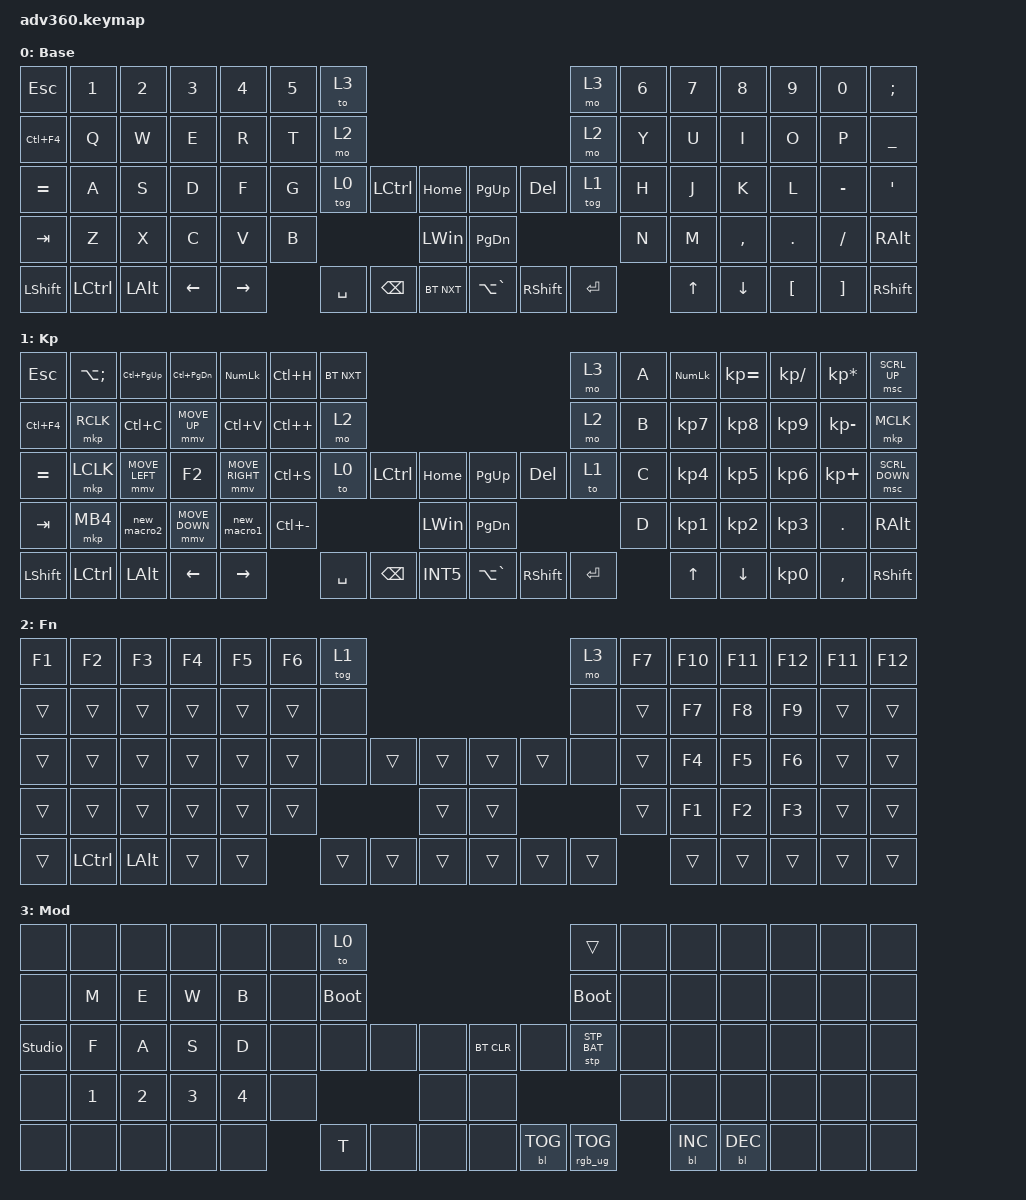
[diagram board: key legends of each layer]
#include <dt-bindings/zmk/stp.h>
#include <behaviors.dtsi>
#include <dt-bindings/zmk/backlight.h>
#include <dt-bindings/zmk/bt.h>
#include <dt-bindings/zmk/keys.h>
#include <dt-bindings/zmk/pointing.h>
#include <dt-bindings/zmk/rgb.h>

/ {
    behaviors {
        #include "macros.dtsi"
      #include "version.dtsi"

        hm: homerow_mods {
            compatible = "zmk,behavior-hold-tap";
            label = "HOMEROW_MODS";
            #binding-cells = <2>;
            tapping-term-ms = <200>;
            quick_tap_ms = <175>;
            flavor = "tap-preferred";
            bindings = <&kp>, <&kp>;
        };
    };

    macros {
        new_macro1: new_macro1 {
            compatible = "zmk,behavior-macro";
            #binding-cells = <0>;
            bindings = <&kp LEFT_ALT &kp H &kp V &kp V>;
            label = "NEW_MACRO1";
        };

        new_macro2: new_macro2 {
            compatible = "zmk,behavior-macro";
            #binding-cells = <0>;
            bindings = <&kp LEFT_ALT &kp H &kp V &kp R>;
            label = "NEW_MACRO2";
        };
    };

    keymap {
        compatible = "zmk,keymap";

        default_layer {
            display-name = "Base";
            bindings = <
&kp ESCAPE  &kp N1            &kp N2        &kp N3    &kp N4     &kp N5  &to 3                                                                       &mo 3      &kp N6  &kp N7  &kp N8     &kp N9    &kp N0     &kp SEMICOLON
&kp LC(F4)  &kp Q             &kp W         &kp E     &kp R      &kp T   &mo 2                                                                       &mo 2      &kp Y   &kp U   &kp I      &kp O     &kp P      &kp UNDERSCORE
&kp EQUAL   &kp A             &kp S         &kp D     &kp F      &kp G   &tog 0     &kp LCTRL      &kp HOME          &kp PAGE_UP    &kp DEL          &tog 1     &kp H   &kp J   &kp K      &kp L     &kp MINUS  &kp SQT
&kp TAB     &kp Z             &kp X         &kp C     &kp V      &kp B                             &kp LEFT_WIN      &kp PAGE_DOWN                              &kp N   &kp M   &kp COMMA  &kp DOT   &kp FSLH   &kp RIGHT_ALT
&kp LSHIFT  &kp LEFT_CONTROL  &kp LEFT_ALT  &kp LEFT  &kp RIGHT          &kp SPACE  &kp BACKSPACE  &bt BT_NXT        &kp LA(GRAVE)  &kp RIGHT_SHIFT  &kp ENTER          &kp UP  &kp DOWN   &kp LBKT  &kp RBKT   &kp RIGHT_SHIFT
            >;
        };

        keypad {
            display-name = "Kp";
            bindings = <
&kp ESC         &kp LA(SEMI)      &kp LC(PAGE_UP)  &kp LC(PAGE_DOWN)  &kp KP_NUMLOCK   &kp LC(H)      &bt BT_NXT                                                                   &mo 3      &kp A  &kp KP_NUM  &kp KP_EQUAL  &kp KP_DIVIDE    &kp KP_MULTIPLY  &msc SCRL_UP
&kp LC(F4)      &mkp RCLK         &kp LC(C)        &mmv MOVE_UP       &kp LC(V)        &kp LC(PLUS)   &mo 2                                                                        &mo 2      &kp B  &kp KP_N7   &kp KP_N8     &kp KP_N9        &kp KP_MINUS     &mkp MCLK
&kp EQUAL       &mkp LCLK         &mmv MOVE_LEFT   &kp F2             &mmv MOVE_RIGHT  &kp LC(S)      &to 0       &kp LCTRL      &kp HOME          &kp PAGE_UP    &kp DEL          &to 1      &kp C  &kp KP_N4   &kp KP_N5     &kp KP_N6        &kp KP_PLUS      &msc SCRL_DOWN
&kp TAB         &mkp MB4          &new_macro2      &mmv MOVE_DOWN     &new_macro1      &kp LC(MINUS)                             &kp LEFT_WIN      &kp PAGE_DOWN                              &kp D  &kp KP_N1   &kp KP_N2     &kp KP_N3        &kp PERIOD       &kp RIGHT_ALT
&kp LEFT_SHIFT  &kp LEFT_CONTROL  &kp LEFT_ALT     &kp LEFT           &kp RIGHT                       &kp SPACE   &kp BACKSPACE  &kp INT5          &kp LA(GRAVE)  &kp RIGHT_SHIFT  &kp ENTER         &kp UP      &kp DOWN      &kp KP_NUMBER_0  &kp COMMA        &kp RIGHT_SHIFT
            >;
        };

        fn {
            display-name = "Fn";
            bindings = <
&kp F1  &kp F2     &kp F3        &kp F4  &kp F5  &kp F6  &tog 1                                      &mo 3   &kp F7  &kp F10  &kp F11  &kp F12  &kp F11  &kp F12
&trans  &trans     &trans        &trans  &trans  &trans  &none                                       &none   &trans  &kp F7   &kp F8   &kp F9   &trans   &trans
&trans  &trans     &trans        &trans  &trans  &trans  &none   &trans  &trans      &trans  &trans  &none   &trans  &kp F4   &kp F5   &kp F6   &trans   &trans
&trans  &trans     &trans        &trans  &trans  &trans                  &trans      &trans                  &trans  &kp F1   &kp F2   &kp F3   &trans   &trans
&trans  &kp LCTRL  &kp LEFT_ALT  &trans  &trans          &trans  &trans  &trans      &trans  &trans  &trans          &trans   &trans   &trans   &trans   &trans
            >;
        };

        mod {
            display-name = "Mod";
            bindings = <
&none           &none         &none   &none   &none   &none  &to 0                                                  &trans           &none  &none       &none       &none  &none  &none
&none           &kp M         &kp E   &kp W   &kp B   &none  &bootloader                                            &bootloader      &none  &none       &none       &none  &none  &none
&studio_unlock  &kp F         &kp A   &kp S   &kp D   &none  &none        &none  &none      &bt BT_CLR  &none       &stp STP_BAT     &none  &none       &none       &none  &none  &none
&none           &kp NUMBER_1  &kp N2  &kp N3  &kp N4  &none                      &none      &none                                    &none  &none       &none       &none  &none  &none
&none           &none         &none   &none   &none          &kp T        &none  &none      &none       &bl BL_TOG  &rgb_ug RGB_TOG         &bl BL_INC  &bl BL_DEC  &none  &none  &none
            >;
        };

        extra1 {
            display-name = "Red";
            status = "reserved";
        };

        extra2 {
            display-name = "Purple";
            status = "reserved";
        };

        extra3 {
            display-name = "Cyan";
            status = "reserved";
        };

        extra4 {
            display-name = "Yellow";
            status = "reserved";
        };
    };
};
